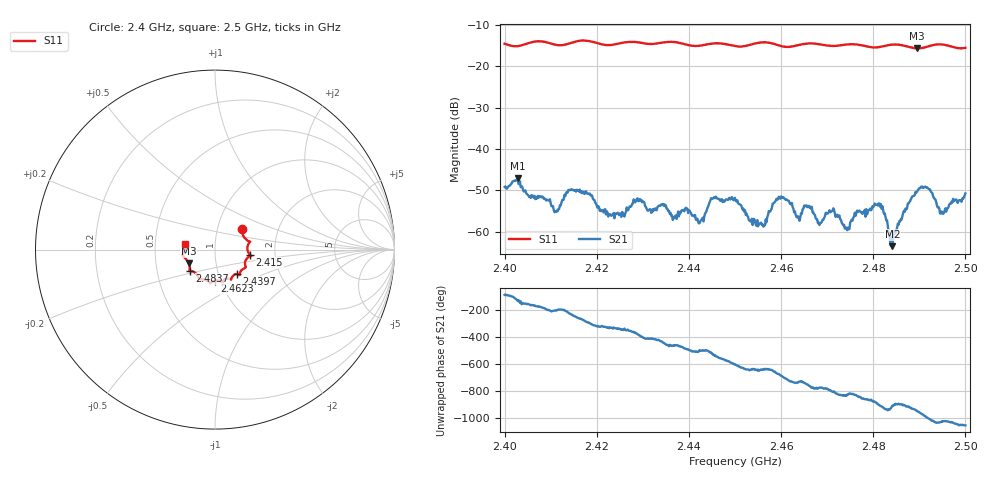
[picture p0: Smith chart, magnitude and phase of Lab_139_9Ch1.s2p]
# Hz S RI R 50
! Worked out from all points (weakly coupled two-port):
!   601 points, 2.4 GHz to 2.5 GHz, reference 50 ohm
!   highest |S21| = -47.06 dB at 2.4028 GHz (marker M1); lowest = -63.6 dB at 2.4842 GHz (marker M2)
!   lowest |S11| = -15.7 dB at 2.4895 GHz (marker M3), VSWR 1.39, Z = 36.8 - j5.73 ohm
!   |S11| at or under -10 dB: start of sweep to end of sweep
!   S12 and S22 are empty: the file has one direction only
!   S11 on the Smith chart (normalised r, x): 2.4 GHz: 1.31, +0.31; 2.415 GHz: 1.48, -0.09; 2.4397 GHz: 1.22, -0.34; 2.4623 GHz: 0.94, -0.34; 2.4837 GHz: 0.74, -0.18; 2.5 GHz: 0.72, +0.05
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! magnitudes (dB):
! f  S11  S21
! 2.4 GHz  -14.5  -49.2
! 2.4028 GHz  -15.1  -47.1
! 2.4112 GHz  -14.8  -55.3
! 2.415 GHz  -14.1  -49.9
! 2.4167 GHz  -13.7  -50.3
! 2.423 GHz  -14.8  -55.9
! 2.4333 GHz  -14.4  -53.9
! 2.4397 GHz  -14.8  -54.5
! 2.4427 GHz  -14.9  -57.2
! 2.45 GHz  -15.1  -51.8
! 2.456 GHz  -14.2  -58.3
! 2.4595 GHz  -14.9  -51.6
! 2.4623 GHz  -15.2  -53.1
! 2.4667 GHz  -14.4  -54.0
! 2.4743 GHz  -14.7  -59.7
! 2.4812 GHz  -15.3  -53.2
! 2.4833 GHz  -14.8  -60.1
! 2.4837 GHz  -14.8  -62.5
! 2.4842 GHz  -14.7  -63.6
! 2.4895 GHz  -15.7  -50.4
! 2.495 GHz  -14.7  -55.5
! 2.5 GHz  -15.5  -50.8
